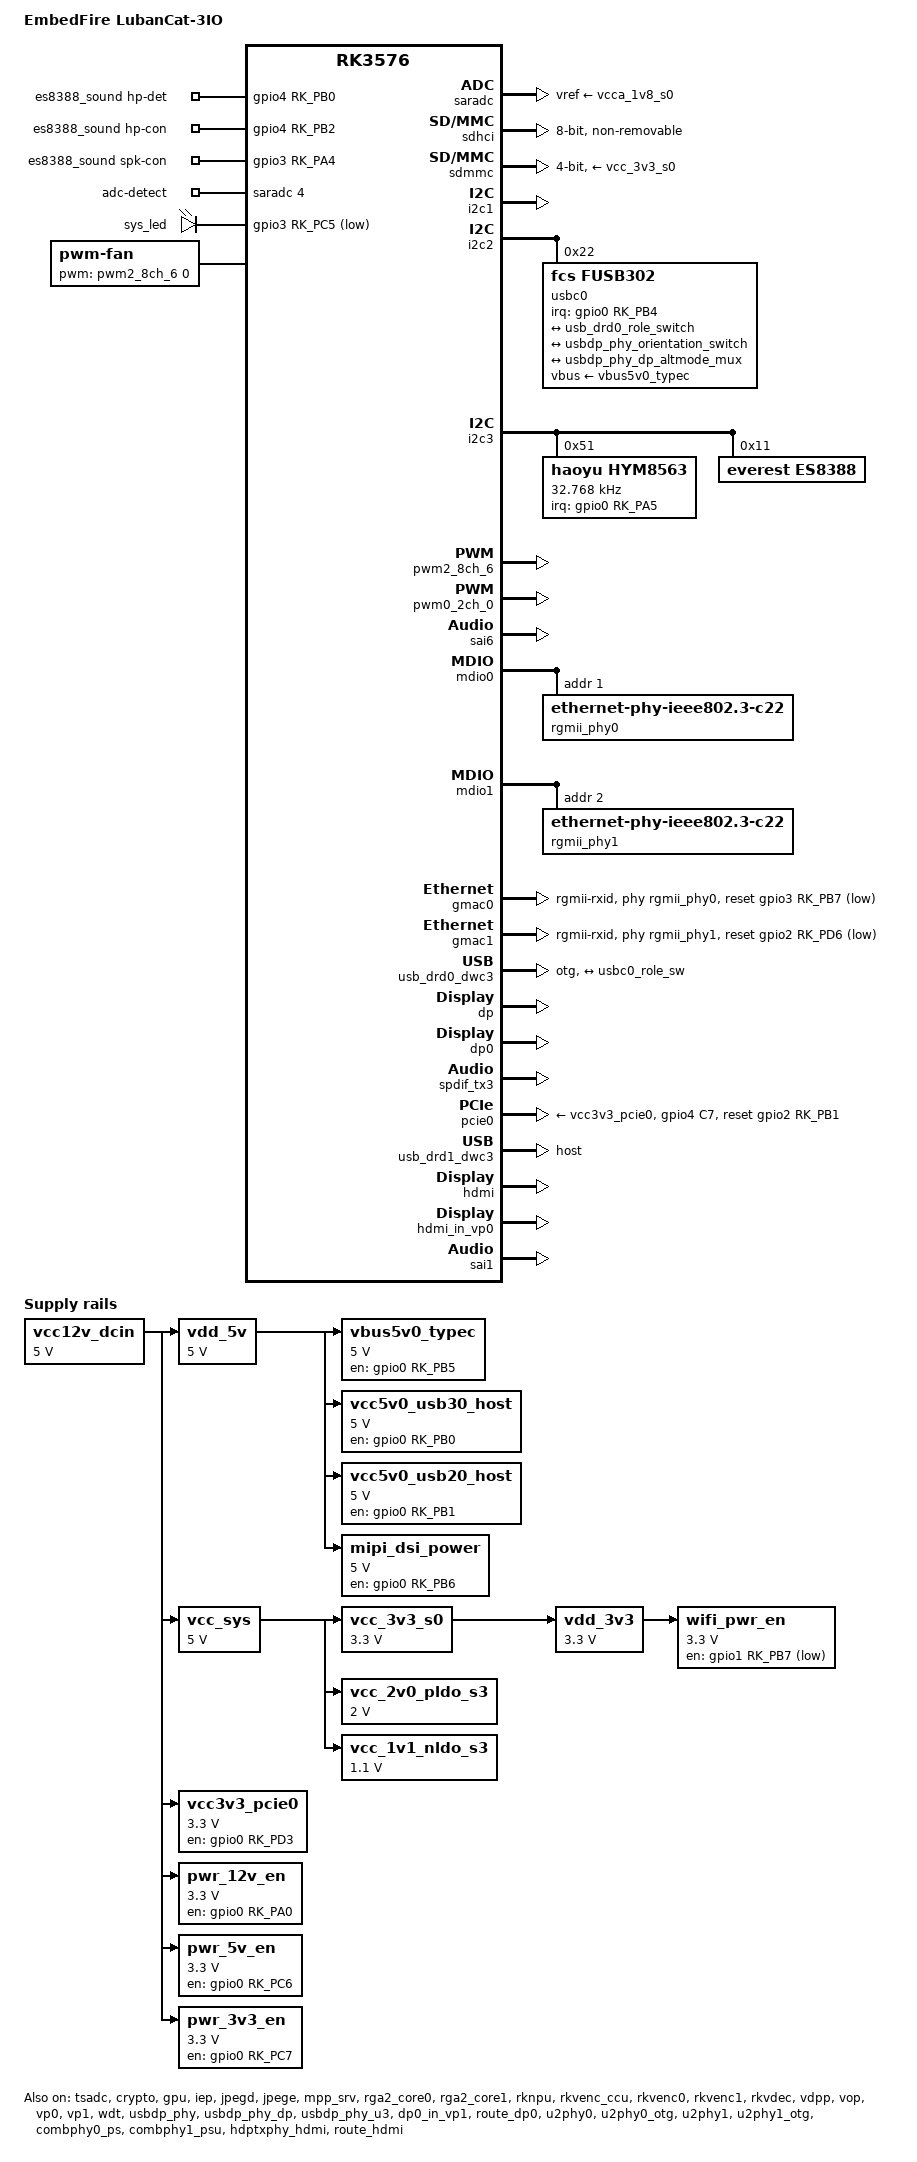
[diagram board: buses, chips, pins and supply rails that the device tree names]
// SPDX-License-Identifier: (GPL-2.0+ OR MIT)
/*
* Copyright (c) 2024 Rockchip Electronics Co., Ltd.
* Copyright (c) 2025 EmbedFire <embedfire@embedfire.com>
*/

/dts-v1/;
#include <dt-bindings/usb/pd.h>
#include <dt-bindings/gpio/gpio.h>
#include <dt-bindings/pwm/pwm.h>
#include <dt-bindings/pinctrl/rockchip.h>
//#include <dt-bindings/input/rk-input.h>
#include <dt-bindings/input/linux-event-codes.h>
#include <dt-bindings/display/drm_mipi_dsi.h>
#include <dt-bindings/display/rockchip_vop.h>
#include <dt-bindings/sensor-dev.h>
#include "rk3576.dtsi"
#include "rk3576-linux.dtsi"
#include "rk3576-rk806.dtsi"

// #include "rk3576-lubancat-3-dsi-1080x1920-5-5inch-ebf410125.dtsi"
// #include "rk3576-lubancat-3-dsi-1024x600-7inch-ebf410173.dtsi"
// #include "rk3576-lubancat-3-dsi-800x1280-10-1inch-ebf410177.dtsi"

#include "rk3576-lubancat-3-csi.dtsi"

/ {
	model = "EmbedFire LubanCat-3IO";
	compatible = "embedfire,rk3576-lubancat-3io", "rockchip,rk3576";

	vcc12v_dcin: vcc12v-dcin {
		compatible = "regulator-fixed";
		regulator-name = "vcc12v_dcin";
		regulator-always-on;
		regulator-boot-on;
		regulator-min-microvolt = <5000000>;
		regulator-max-microvolt = <5000000>;
	};

	vdd_5v: vdd-5v {
		compatible = "regulator-fixed";
		regulator-name = "vdd_5v";
		regulator-always-on;
		regulator-boot-on;
		regulator-min-microvolt = <5000000>;
		regulator-max-microvolt = <5000000>;
		vin-supply = <&vcc12v_dcin>;
	};

	vcc_sys: vcc5v0-sys-s5 {
		compatible = "regulator-fixed";
		regulator-name = "vcc_sys";
		regulator-always-on;
		regulator-boot-on;
		regulator-min-microvolt = <5000000>;
		regulator-max-microvolt = <5000000>;
		vin-supply = <&vcc12v_dcin>;
	};

	vcc_3v3_s0: vcc-3v3-s0 {
		compatible = "regulator-fixed";
		regulator-name = "vcc_3v3_s0";
		regulator-always-on;
		regulator-boot-on;
		regulator-min-microvolt = <3300000>;
		regulator-max-microvolt = <3300000>;
		vin-supply = <&vcc_sys>;
	};

	vdd_3v3: vdd-5v {
		compatible = "regulator-fixed";
		regulator-name = "vdd_3v3";
		regulator-always-on;
		regulator-boot-on;
		regulator-min-microvolt = <3300000>;
		regulator-max-microvolt = <3300000>;
		vin-supply = <&vcc_3v3_s0>;
	};

	vcc_2v0_pldo_s3: vcc-2v0-pldo-s3 {
		compatible = "regulator-fixed";
		regulator-name = "vcc_2v0_pldo_s3";
		regulator-boot-on;
		regulator-always-on;
		regulator-min-microvolt = <2000000>;
		regulator-max-microvolt = <2000000>;
		vin-supply = <&vcc_sys>;
	};

	vcc_1v1_nldo_s3: vcc-1v1-nldo-s3 {
		compatible = "regulator-fixed";
		regulator-name = "vcc_1v1_nldo_s3";
		regulator-boot-on;
		regulator-always-on;
		regulator-min-microvolt = <1100000>;
		regulator-max-microvolt = <1100000>;
		vin-supply = <&vcc_sys>;
	};

	vcc3v3_pcie0: vcc3v3-pcie0 {
		compatible = "regulator-fixed";
		regulator-name = "vcc3v3_pcie0";
		regulator-min-microvolt = <3300000>;
		regulator-max-microvolt = <3300000>;
		enable-active-high;
		regulator-always-on;
		gpios = <&gpio0 RK_PD3 GPIO_ACTIVE_HIGH>;
		startup-delay-us = <5000>;
		vin-supply = <&vcc12v_dcin>;
	};

	vbus5v0_typec: vbus5v0-typec {
		compatible = "regulator-fixed";
		regulator-name = "vbus5v0_typec";
		regulator-min-microvolt = <5000000>;
		regulator-max-microvolt = <5000000>;
		enable-active-high;
		gpio = <&gpio0 RK_PB5 GPIO_ACTIVE_HIGH>;
		vin-supply = <&vdd_5v>;
		pinctrl-names = "default";
		pinctrl-0 = <&typec_vbus_en>;
	};

	vcc5v0_usb30_host: vcc5v0-usb30-host {
		compatible = "regulator-fixed";
		regulator-name = "vcc5v0_usb30_host";
		regulator-min-microvolt = <5000000>;
		regulator-max-microvolt = <5000000>;
		regulator-always-on;
		regulator-boot-on;
		enable-active-high;
		gpio = <&gpio0 RK_PB0 GPIO_ACTIVE_HIGH>;
		vin-supply = <&vdd_5v>;
		pinctrl-names = "default";
		pinctrl-0 = <&usb30_host_pwr_en>;
	};

	vcc5v0_usb20_host: vcc5v0-usb20-host {
		compatible = "regulator-fixed";
		regulator-name = "vcc5v0_usb20_host";
		regulator-min-microvolt = <5000000>;
		regulator-max-microvolt = <5000000>;
		regulator-always-on;
		regulator-boot-on;
		enable-active-high;
		gpio = <&gpio0 RK_PB1 GPIO_ACTIVE_HIGH>;
		vin-supply = <&vdd_5v>;
		pinctrl-names = "default";
		pinctrl-0 = <&usb20_host_pwr_en>;
	};

	mipi_dsi_power: mipi-dsi-power {
		compatible = "regulator-fixed";
		regulator-name = "mipi_dsi_power";
		regulator-min-microvolt = <5000000>;
		regulator-max-microvolt = <5000000>;
		regulator-always-on;
		regulator-boot-on;
		enable-active-high;
		gpio = <&gpio0 RK_PB6 GPIO_ACTIVE_HIGH>;
		vin-supply = <&vdd_5v>;
		pinctrl-names = "default";
		pinctrl-0 = <&lcd_pwr_en>;
	};

	wifi_pwr_en: wifi-pwr-en {
		compatible = "regulator-fixed";
		regulator-name = "wifi_pwr_en";
		regulator-min-microvolt = <3300000>;
		regulator-max-microvolt = <3300000>;
		regulator-always-on;
		enable-active-low;
		startup-delay-us = <200000>;
		gpio = <&gpio1 RK_PB7 GPIO_ACTIVE_LOW>;
		vin-supply = <&vdd_3v3>;
		pinctrl-names = "default";
		pinctrl-0 = <&wifi_pwr_en_pin>;
	};

	pwr_12v_en: pwr-12v-en {
		compatible = "regulator-fixed";
		regulator-name = "pwr_12v_en";
		regulator-min-microvolt = <3300000>;
		regulator-max-microvolt = <3300000>;
		regulator-always-on;
		regulator-boot-on;
		enable-active-high;
		gpio = <&gpio0 RK_PA0 GPIO_ACTIVE_HIGH>;
		vin-supply = <&vcc12v_dcin>;
		pinctrl-names = "default";
		pinctrl-0 = <&pwr_12v_en_pin>;
	};

	pwr_5v_en: pwr-5v-en {
		compatible = "regulator-fixed";
		regulator-name = "pwr_5v_en";
		regulator-min-microvolt = <3300000>;
		regulator-max-microvolt = <3300000>;
		regulator-always-on;
		regulator-boot-on;
		enable-active-high;
		gpio = <&gpio0 RK_PC6 GPIO_ACTIVE_HIGH>;
		vin-supply = <&vcc12v_dcin>;
		pinctrl-names = "default";
		pinctrl-0 = <&pwr_5v_en_pin>;
	};

	pwr_3v3_en: pwr-3v3-en {
		compatible = "regulator-fixed";
		regulator-name = "pwr_3v3_en";
		regulator-min-microvolt = <3300000>;
		regulator-max-microvolt = <3300000>;
		regulator-always-on;
		regulator-boot-on;
		enable-active-high;
		gpio = <&gpio0 RK_PC7 GPIO_ACTIVE_HIGH>;
		vin-supply = <&vcc12v_dcin>;
		pinctrl-names = "default";
		pinctrl-0 = <&pwr_3v3_en_pin>;
	};

	es8388_sound: es8388-sound {
		status = "okay";
		compatible = "rockchip,multicodecs-card";
		rockchip,card-name = "rockchip-es8388";
		hp-det-gpio = <&gpio4 RK_PB0 GPIO_ACTIVE_HIGH>;
		hp-con-gpio = <&gpio4 RK_PB2 GPIO_ACTIVE_HIGH>;
		spk-con-gpio = <&gpio3 RK_PA4 GPIO_ACTIVE_HIGH>;
		io-channels = <&saradc 4>;
		io-channel-names = "adc-detect";
		keyup-threshold-microvolt = <1800000>;
		poll-interval = <100>;
		// rockchip,pre-power-on-delay-ms = <30>;
		// rockchip,post-power-down-delay-ms = <40>;
		rockchip,format = "i2s";
		rockchip,mclk-fs = <256>;
		rockchip,cpu = <&sai1>;
		rockchip,codec = <&es8388>;
		rockchip,audio-routing =
			"Headphone", "LOUT1",
			"Headphone", "ROUT1",
			"Speaker", "LOUT2",
			"Speaker", "ROUT2",
			"Headphone", "Headphone Power",
			"Headphone", "Headphone Power",
			"Speaker", "Speaker Power",
			"Speaker", "Speaker Power",
			"LINPUT1", "Main Mic",
			"LINPUT2", "Main Mic",
			"RINPUT1", "Headset Mic",
			"RINPUT2", "Headset Mic";
		pinctrl-names = "default";
		pinctrl-0 = <&hp_det>;
		play-pause-key {
			label = "playpause";
			linux,code = <KEY_PLAYPAUSE>;
			press-threshold-microvolt = <2000>;
		};

		previous-song-key {
			label = "previoussong";
			linux,code = <KEY_PREVIOUSSONG>;
			press-threshold-microvolt = <145000>;
		};

		next-song-key {
			label = "nextsong";
			linux,code = <KEY_NEXTSONG>;
			press-threshold-microvolt = <290000>;
		};
	};

	hdmi_sound: hdmi-sound {
		compatible = "rockchip,hdmi";
		rockchip,mclk-fs = <128>;
		rockchip,card-name = "rockchip-hdmi";
		rockchip,cpu = <&sai6>;
		rockchip,codec = <&hdmi>;
		rockchip,jack-det;
	};

	dp0_sound: dp0-sound {
		compatible = "rockchip,hdmi";
		rockchip,mclk-fs = <512>;
		rockchip,card-name = "rockchip-dp0";
		rockchip,cpu = <&spdif_tx3>;
		rockchip,codec = <&dp0 1>;
		rockchip,jack-det;
	};

	leds: leds {
		status = "okay";
		compatible = "gpio-leds";

		sys_led: sys-led {
			label = "sys_led";
			linux,default-trigger = "heartbeat";
			default-state = "on";
			gpios = <&gpio3 RK_PC5 GPIO_ACTIVE_LOW>;
			pinctrl-names = "default";
			pinctrl-0 = <&sys_status_led_pin>;
		};
	};

	fan: pwm-fan {
		compatible = "pwm-fan";
		#cooling-cells = <2>;
		pwms = <&pwm2_8ch_6 0 500000 0>;
		cooling-levels = <0 100 150 200 255>;
		rockchip,temp-trips = <
			40000	1
			55000	2
			60000	3
			65000	4
		>;
	};

	test-power {
		status = "okay";
	};
};

&saradc {
	status = "okay";
	vref-supply = <&vcca_1v8_s0>;
};

&tsadc {
	status = "okay";
};

&sdhci {
	bus-width = <8>;
	no-sdio;
	no-sd;
	non-removable;
	max-frequency = <200000000>;
	mmc-hs400-1_8v;
	mmc-hs400-enhanced-strobe;
	full-pwr-cycle-in-suspend;
	status = "okay";
};

&sdmmc {
	max-frequency = <200000000>;
	no-sdio;
	no-mmc;
	bus-width = <4>;
	cap-mmc-highspeed;
	cap-sd-highspeed;
	disable-wp;
	sd-uhs-sdr104;
	vmmc-supply = <&vcc_3v3_s0>;
	vqmmc-supply = <&vccio_sd_s0>;
	pinctrl-names = "default";
	pinctrl-0 = <&sdmmc0_clk &sdmmc0_cmd &sdmmc0_det &sdmmc0_bus4>;
	status = "okay";
};

&sfc0 {
	status = "disabled";
	pinctrl-names = "default";
	pinctrl-0 = <&fspi0_correct_pins &fspi0_csn0>;

	flash@0 {
		compatible = "jedec,spi-nor";
		reg = <0>;
		spi-max-frequency = <40000000>;
		spi-rx-bus-width = <4>;
		spi-tx-bus-width = <1>;
	};
};

/* used by the rk806, rk3576-rk806.dtsi */
&i2c1 {
	pinctrl-names = "default";
	pinctrl-0 = <&i2c1m0_xfer>;
	status = "okay";
};

&i2c2 {
	pinctrl-names = "default";
	pinctrl-0 = <&i2c2m0_xfer>;
	status = "okay";

	/* Typec Controller Fusb302 */
	usbc0: fusb302@22 {
		compatible = "fcs,fusb302";
		reg = <0x22>;
		interrupt-parent = <&gpio0>;
		interrupts = <RK_PB4 IRQ_TYPE_LEVEL_LOW>;
		pinctrl-names = "default";
		pinctrl-0 = <&fusb302_int>;
		vbus-supply = <&vbus5v0_typec>;
		status = "okay";

		ports {
			#address-cells = <1>;
			#size-cells = <0>;

			port@0 {
				reg = <0>;
				usbc0_role_sw: endpoint@0 {
					remote-endpoint = <&usb_drd0_role_switch>;
				};
			};
		};

		usb_con: connector {
			compatible = "usb-c-connector";
			label = "USB-C";
			data-role = "dual";
			power-role = "dual";
			try-power-role = "sink";
			op-sink-microwatt = <1000000>;
			sink-pdos =
				<PDO_FIXED(5000, 1000, PDO_FIXED_USB_COMM)>;
			source-pdos =
				<PDO_FIXED(5000, 3000, PDO_FIXED_USB_COMM)>;

			altmodes {
				#address-cells = <1>;
				#size-cells = <0>;

				altmode@0 {
					reg = <0>;
					svid = <0xff01>;
					vdo = <0xffffffff>;
				};
			};

			ports {
				#address-cells = <1>;
				#size-cells = <0>;

				port@0 {
					reg = <0>;
					usbc0_orien_sw: endpoint {
						remote-endpoint = <&usbdp_phy_orientation_switch>;
					};
				};

				port@1 {
					reg = <1>;
					dp_altmode_mux: endpoint {
						remote-endpoint = <&usbdp_phy_dp_altmode_mux>;
					};
				};
			};
		};
	};
};

&i2c3 {
	pinctrl-names = "default";
	pinctrl-0 = <&i2c3m0_xfer>;
	status = "okay";

	/* bm8563 rtc chip use rtc-hym8563 driver */
	hym8563: hym8563@51 {
		compatible = "haoyu,hym8563"; 
		reg = <0x51>;
		#clock-cells = <0>;
		clock-frequency = <32768>;
		clock-output-names = "hym8563";
		pinctrl-names = "default";
		pinctrl-0 = <&hym8563_int>;
		interrupt-parent = <&gpio0>;
		interrupts = <RK_PA5 IRQ_TYPE_LEVEL_LOW>;
		wakeup-source;
	};

	es8388: es8388@11 {
		status = "okay";
		#sound-dai-cells = <0>;
		compatible = "everest,es8388", "everest,es8323";
		reg = <0x11>;
		clocks = <&mclkout_sai1>;
		clock-names = "mclk";
		assigned-clocks = <&mclkout_sai1>;
		assigned-clock-rates = <12288000>;
		pinctrl-names = "default";
		pinctrl-0 = <&sai1m0_mclk>;
	};
};

&pwm2_8ch_6 {
	status = "okay";
	pinctrl-0 = <&pwm2m0_ch6>;
};

&pwm0_2ch_0 {
	compatible = "rockchip,remotectl-pwm-v4";
	pinctrl-names = "default";
	pinctrl-0 = <&pwm0m0_ch0>;
	remote_pwm_id = <0>;
	handle_cpu_id = <1>;
	remote_support_psci = <0>;
	status = "okay";

	ir_key_lubancat{
		rockchip,usercode = <0xff00>;
		rockchip,key_table =
			<0xba   KEY_POWER>,   //电源按键
			<0xb8   KEY_MENU>,     //菜单按键
			<0xbc   KEY_BACK>,      //返回按键
			<0xbb   KEY_HOME>,      //home键按键
			<0xea   KEY_PLAY>,      //播放按键
			<0xbf   KEY_VOLUMEUP>,  //音量加按键
			<0xe6   KEY_VOLUMEDOWN>,   //音量键按键
			<0xf6   KEY_FASTFORWARD>,  //快进按键
			<0xf8   KEY_FASTREVERSE>,  //快退按键
			<0xf2   KEY_BACKSPACE>,    //BaskSpace按键
			<0xf3   KEY_1>,            //按键1
			<0xe7   KEY_2>,
			<0xa1   KEY_3>,
			<0xf7   KEY_4>,
			<0xe3   KEY_5>,
			<0xa5   KEY_6>,
			<0xbd   KEY_7>,
			<0xad   KEY_8>,
			<0xb5   KEY_9>,
			<0xe9   KEY_0>;            //按键0
	};

	ir_key1 {
		rockchip,usercode = <0x4040>;
		rockchip,key_table =
			<0xf2	KEY_REPLY>,
			<0xba	KEY_BACK>,
			<0xf4	KEY_UP>,
			<0xf1	KEY_DOWN>,
			<0xef	KEY_LEFT>,
			<0xee	KEY_RIGHT>,
			<0xbd	KEY_HOME>,
			<0xea	KEY_VOLUMEUP>,
			<0xe3	KEY_VOLUMEDOWN>,
			<0xe2	KEY_SEARCH>,
			<0xb2	KEY_POWER>,
			<0xbc	KEY_MUTE>,
			<0xec	KEY_MENU>,
			<0xbf	0x190>,
			<0xe0	0x191>,
			<0xe1	0x192>,
			<0xe9	183>,
			<0xe6	248>,
			<0xe8	185>,
			<0xe7	186>,
			<0xf0	388>,
			<0xbe	0x175>;
	};
};

// &ufs {
// 	reset-gpios = <&gpio4 RK_PD0 GPIO_ACTIVE_HIGH>;
// 	vcc-supply = <&vcc_ufs_s0>;
// 	vccq-supply = <&vcc1v2_ufs_vccq_s0>;
// 	vccq2-supply = <&vcc1v8_ufs_vccq2_s0>;
// 	status = "disabled";
// };

&cpu_l0 {
	cpu-supply = <&vdd_cpu_lit_s0>;
};

&cpu_b0 {
	cpu-supply = <&vdd_cpu_big_s0>;
};

&crypto {
	status = "okay";
};

&gpu {
	mali-supply = <&vdd_gpu_s0>;
	status = "okay";
};

&iep {
	status = "okay";
};

&iep_mmu {
	status = "okay";
};

&jpegd {
	status = "okay";
};

&jpege {
	status = "okay";
};

&jpeg_mmu {
	status = "okay";
};

&mpp_srv {
	status = "okay";
};

&rga2_core0 {
	status = "okay";
};

&rga2_core0_mmu {
	status = "okay";
};

&rga2_core1 {
	status = "okay";
};

&rga2_core1_mmu {
	status = "okay";
};

&rknpu {
	rknpu-supply = <&vdd_npu_s0>;
	status = "okay";
};

&rknpu_mmu {
	status = "okay";
};

&rkvenc_ccu {
	status = "okay";
};

&rkvenc0 {
	status = "okay";
};

&rkvenc0_mmu {
	status = "okay";
};

&rkvenc1 {
	status = "okay";
};

&rkvenc1_mmu {
	status = "okay";

};

&rkvdec {
	status = "okay";
};

&rkvdec_mmu {
	status = "okay";
};

&rockchip_suspend {
	status = "okay";
	rockchip,sleep-debug-en = <1>;

	rockchip,sleep-io-ret-config = <
		(0
		| RKPM_VCCIO3_RET_EN
		)
	>;

	rockchip,regulator-on-before-mem = <&vdd_npu_s0>;
};

&sai6 {
	status = "okay";
};

&vdpp {
	status = "okay";
};

&vop {
	status = "okay";
	vop-supply = <&vdd_logic_s0>;
};

&vop_mmu {
	status = "okay";
};

&vp0 {
	rockchip,plane-mask = <(1 << ROCKCHIP_VOP2_CLUSTER0 | 1 << ROCKCHIP_VOP2_ESMART0)>;
	rockchip,primary-plane = <ROCKCHIP_VOP2_ESMART0>;
	cursor-win-id = <ROCKCHIP_VOP2_CLUSTER0>;
};

&vp1 {
	rockchip,plane-mask = <(1 << ROCKCHIP_VOP2_CLUSTER1 | 1 << ROCKCHIP_VOP2_ESMART1)>;
	rockchip,primary-plane = <ROCKCHIP_VOP2_ESMART1>;
	cursor-win-id = <ROCKCHIP_VOP2_CLUSTER1>;
};

&vp2 {
	rockchip,plane-mask = <(1 << ROCKCHIP_VOP2_ESMART2 | 1 << ROCKCHIP_VOP2_ESMART3)>;
	rockchip,primary-plane = <ROCKCHIP_VOP2_ESMART2>;
	cursor-win-id = <ROCKCHIP_VOP2_ESMART3>;
};

&vp2 {
	esmart_lb_mode = /bits/ 8 <5>;
};

&mdio0 {
	rgmii_phy0: phy@1 {
		compatible = "ethernet-phy-ieee802.3-c22";
		reg = <0x1>;
		clocks = <&cru REFCLKO25M_GMAC0_OUT>;
	};
};

&mdio1 {
	rgmii_phy1: phy@2 {
		compatible = "ethernet-phy-ieee802.3-c22";
		reg = <0x2>;
		clocks = <&cru REFCLKO25M_GMAC1_OUT>;
	};
};

&gmac0 {
	/* Use rgmii-rxid mode to disable rx delay inside Soc */
	phy-mode = "rgmii-rxid";
	clock_in_out = "output";

	snps,reset-gpio = <&gpio3 RK_PB7 GPIO_ACTIVE_LOW>;
	snps,reset-active-low;
	/* Reset time is 20ms, 100ms for rtl8211f */
	snps,reset-delays-us = <0 20000 100000>;

	pinctrl-names = "default";
	pinctrl-0 = <&eth0m0_miim
			&eth0m0_tx_bus2
			&eth0m0_rx_bus2
			&eth0m0_rgmii_clk
			&eth0m0_rgmii_bus
			&eth0m0_mclk>;

	tx_delay = <0x20>;
	rx_delay = <0x01>;

	phy-handle = <&rgmii_phy0>;
	status = "okay";
};

&gmac1 {
	/* Use rgmii-rxid mode to disable rx delay inside Soc */
	phy-mode = "rgmii-rxid";
	clock_in_out = "output";

	snps,reset-gpio = <&gpio2 RK_PD6 GPIO_ACTIVE_LOW>;
	snps,reset-active-low;
	/* Reset time is 20ms, 100ms for rtl8211f */
	snps,reset-delays-us = <0 20000 100000>;
 
	pinctrl-names = "default";
	pinctrl-0 = <&eth1m0_miim
			&eth1m0_tx_bus2
			&eth1m0_rx_bus2
			&eth1m0_rgmii_clk
			&eth1m0_rgmii_bus
			&eth1m0_mclk>;

	tx_delay = <0x20>;
	rx_delay = <0x01>;

	phy-handle = <&rgmii_phy1>;
	status = "okay";
};

/* this is a watchdog */
&wdt {
	status = "okay";
};

/* USB3 OTG0/DP1.4 Alt */
&usbdp_phy {
	orientation-switch;
	svid = <0xff01>;
	sbu1-dc-gpios = <&gpio4 RK_PC4 GPIO_ACTIVE_HIGH>;
	sbu2-dc-gpios = <&gpio4 RK_PC5 GPIO_ACTIVE_HIGH>;
	status = "okay";

	port {
		#address-cells = <1>;
		#size-cells = <0>;

		usbdp_phy_orientation_switch: endpoint@0 {
			reg = <0>;
			remote-endpoint = <&usbc0_orien_sw>;
		};

		usbdp_phy_dp_altmode_mux: endpoint@1 {
			reg = <1>;
			remote-endpoint = <&dp_altmode_mux>;
		};
	};
};

&usbdp_phy_dp {
	status = "okay";
};

&usbdp_phy_u3 {
	status = "okay";
};

&usb_drd0_dwc3 {
	dr_mode = "otg";
	usb-role-switch;
	status = "okay";
	snps,parkmode-disable-hs-quirk;
	snps,parkmode-disable-ss-quirk;
	snps,dis_u3_susphy_quirk;
	snps,dis_u2_susphy_quirk;
	port {
		usb_drd0_role_switch: endpoint {
			remote-endpoint = <&usbc0_role_sw>;
		};
	};
};

/* DP */
&dp {
	status = "okay";
};

&dp0 {
	status = "okay";
};

&dp0_in_vp0 {
	status = "disabled";
};

&dp0_in_vp1 {
	status = "okay";
};

&dp0_in_vp2 {
	status = "disabled";
};

&vp1 {
	status = "okay";
};

&route_dp0 {
	status = "okay";
	connect = <&vp1_out_dp0>;
};

&dp0_sound {
	status = "okay";
};

&spdif_tx3 {
	status = "okay";
};

/* USB2 OTG0 */
&u2phy0 {
	status = "okay";
};

&u2phy0_otg {
	rockchip,typec-vbus-det;
	status = "okay";
};

/* USB2 OTG1 */
&u2phy1 {
	status = "okay";
};

&u2phy1_otg {
	phy-supply = <&vcc5v0_usb20_host>;
	dr_mode = "host";
	status = "okay";
};

/* PCIE0/SATA0 Combo PHY0 */
&combphy0_ps {
	status = "okay";
};

&pcie0 {
	reset-gpios = <&gpio2 RK_PB1 GPIO_ACTIVE_HIGH>;
	disable-gpios = <&gpio4 RK_PC7 GPIO_ACTIVE_HIGH>;
	vpcie3v3-supply = <&vcc3v3_pcie0>;
	pinctrl-names = "default";
	pinctrl-0 = <&pcie_disable_gpio>;
	status = "okay";
};

&sata0 {
	vpcie3v3-supply = <&vcc3v3_pcie0>;
	status = "disabled";
};

/* PCIE1/SATA1/USB3_OTG1 Combo PHY1 */
&combphy1_psu {
	status = "okay";
};

&usb_drd1_dwc3 {
	dr_mode = "host";
	status = "okay";
	snps,parkmode-disable-hs-quirk;
	snps,parkmode-disable-ss-quirk;
	snps,dis_u3_susphy_quirk;
	snps,dis_u2_susphy_quirk;
};

/* HDMI TX/eDP TX Combo Phy */
&display_subsystem {
	clocks = <&hdptxphy_hdmi>;
	clock-names = "hdmi0_phy_pll";
};

&hdmi {
	enable-gpios = <&gpio4 RK_PC6 GPIO_ACTIVE_HIGH>;
	cec-enable = "true";
	rockchip,sda-falling-delay-ns = <360>;
	status = "okay";
};

&vp0 {
	status = "okay";
};

&hdmi_in_vp0 {
	status = "okay";
};

&hdmi_in_vp1 {
	status = "disabled";
};

&hdmi_in_vp2 {
	status = "disabled";
};

&hdmi_in_vopl {
	status = "disabled";
};

&hdptxphy_hdmi {
	status = "okay";
};

&route_hdmi {
	status = "okay";
	connect = <&vp0_out_hdmi>;
};

&hdmi_sound {
	status = "okay";
};

&sai1 {
	status = "okay";
	rockchip,sai-tx-route = <2 1 0 3>;
	pinctrl-names = "default";
	pinctrl-0 = <&sai1m0_lrck
			&sai1m0_sclk
			&sai1m0_sdi0
			&sai1m0_sdo2>;
};

&pinctrl {
	leds {
		sys_status_led_pin: sys-status-led-pin {
			rockchip,pins = <3 RK_PC5 RK_FUNC_GPIO &pcfg_pull_none>;
		};
	};

	hym8563 {
		hym8563_int: hym8563-int {
			rockchip,pins = <0 RK_PA5 RK_FUNC_GPIO &pcfg_pull_up>;
		};
	};

	usb-typec {
		fusb302_int: fusb302-int {
			rockchip,pins = <0 RK_PB4 RK_FUNC_GPIO &pcfg_pull_up>;
		};

		typec_vbus_en: typec-vbus-en {
			rockchip,pins = <0 RK_PB5 RK_FUNC_GPIO &pcfg_pull_none>;
		};
	};

	usb-host {
		usb30_host_pwr_en: usb30-host-pwr-en {
			rockchip,pins = <0 RK_PB0 RK_FUNC_GPIO &pcfg_pull_none>;
		};
		usb20_host_pwr_en: usb20-host-pwr-en {
			rockchip,pins = <0 RK_PB1 RK_FUNC_GPIO &pcfg_pull_none>;
		};
	};

	mipi-dsi {
		lcd_pwr_en: lcd-pwr-en {
			rockchip,pins = <0 RK_PB6 RK_FUNC_GPIO &pcfg_pull_none>;
		};
	};

	wifi {
		wifi_pwr_en_pin: wifi-pwr-en-pin {
			rockchip,pins = <1 RK_PB7 RK_FUNC_GPIO &pcfg_pull_none>;
		};
	};

	power-output {
		pwr_12v_en_pin: pwr-12v-en-pin {
			rockchip,pins = <0 RK_PA0 RK_FUNC_GPIO &pcfg_pull_none>;
		};

		pwr_5v_en_pin: pwr-5v-en-pin {
			rockchip,pins = <0 RK_PC6 RK_FUNC_GPIO &pcfg_pull_none>;
		};

		pwr_3v3_en_pin: pwr-3v3-en-pin {
			rockchip,pins = <0 RK_PC7 RK_FUNC_GPIO &pcfg_pull_none>;
		};
	};

	headphone {
		hp_det: hp-det {
			rockchip,pins = <4 RK_PB0 RK_FUNC_GPIO &pcfg_pull_up>;
		};
	};

	pcie {
		pcie_disable_gpio: pcie-disable-gpio {
			rockchip,pins = <4 RK_PC7 RK_FUNC_GPIO &pcfg_pull_up>;
		};
	};

	fspi0_correct {
		fspi0_correct_pins: fspi0-correct-pins {
			rockchip,pins =
				/* fspi0_clk */
				<1 RK_PB1 2 &pcfg_pull_none>,
				/* fspi0_d0 */
				<1 RK_PA0 2 &pcfg_pull_none>,
				/* fspi0_d1 */
				<1 RK_PA1 2 &pcfg_pull_none>,
				/* fspi0_d2 */
				<1 RK_PA2 2 &pcfg_pull_none>,
				/* fspi0_d3 */
				<1 RK_PA3 2 &pcfg_pull_none>;
		};
	};
};
